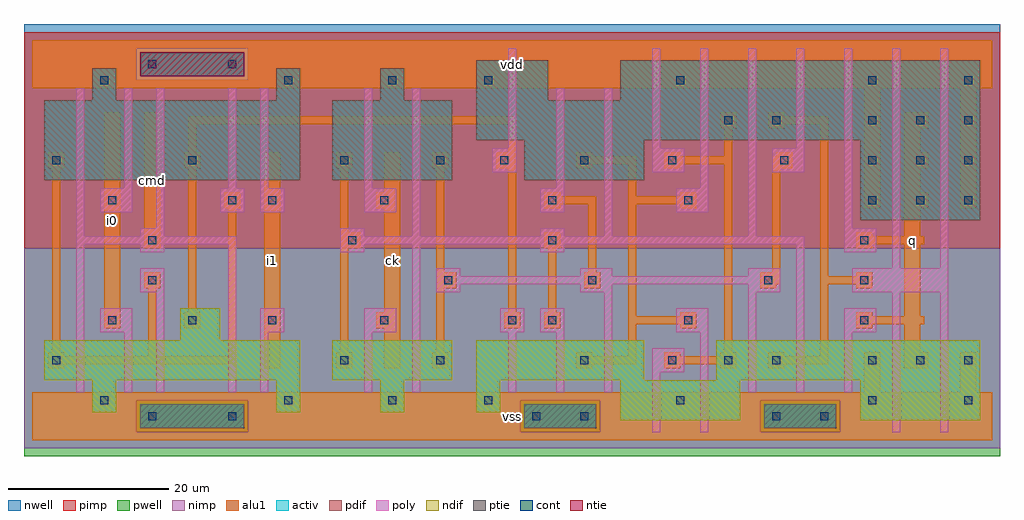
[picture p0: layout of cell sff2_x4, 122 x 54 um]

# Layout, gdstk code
import gdstk
lib = gdstk.Library(unit=1e-6, precision=1e-09)
def R(c, l, rs):  # rectangles x0, y0, x1, y1
    for r in rs: c.add(gdstk.rectangle(r[:2], r[2:], *l))
def A(c, l, x, y, w, h, nx, ny, dx, dy):  # array of equal rectangles
    R(c, l, [(x+i*dx, y+j*dy, x+i*dx+w, y+j*dy+h) for i in range(nx) for j in range(ny)])
ndif = (3, 0)
pdif = (4, 0)
ntie = (5, 0)
ptie = (6, 0)
cont = (25, 0)
pwell = (41, 0)
nwell = (42, 0)
activ = (43, 0)
pimp = (44, 0)
nimp = (45, 0)
poly = (46, 0)
alu1 = (49, 0)

sff2_x4 = lib.new_cell('sff2_x4')
R(sff2_x4, ndif, [(73.5,2.5,88.5,7.5), (103.5,2.5,118.5,7.5), (7.5,3.5,10.5,7.5), (30.5,3.5,33.5,7.5), (43.5,3.5,46.5,7.5), (55.5,3.5,58.5,7.5), (1.5,7.5,33.5,12.5), (37.5,7.5,52.5,12.5), (55.5,7.5,76.5,12.5), (85.5,7.5,118.5,12.5), (18.5,12.5,23.5,16.5)])
R(sff2_x4, pdif, [(103.5,27.5,118.5,37.5), (1.5,32.5,33.5,42.5), (37.5,32.5,52.5,42.5), (61.5,32.5,76.5,37.5), (55.5,37.5,118.5,42.5), (7.5,42.5,10.5,46.5), (30.5,42.5,33.5,46.5), (43.5,42.5,46.5,46.5), (55.5,42.5,64.5,47.5), (73.5,42.5,118.5,47.5)])
R(sff2_x4, ntie, [(13.5,45.5,26.5,48.5)])
R(sff2_x4, ptie, [(13.5,1.5,26.5,4.5), (61.5,1.5,70.5,4.5), (91.5,1.5,100.5,4.5)])
A(sff2_x4, cont, 56.5, 4.5, 1, 1, 3, 2, 24, 40)
A(sff2_x4, cont, 104.5, 9.5, 1, 1, 3, 2, 6, 20)
A(sff2_x4, cont, 9.5, 14.5, 1, 1, 3, 1, 10, 0)
A(sff2_x4, cont, 103.5, 14.5, 1, 1, 1, 3, 0, 5)
A(sff2_x4, cont, 14.5, 24.5, 1, 1, 3, 1, 25, 0)
A(sff2_x4, cont, 104.5, 34.5, 1, 1, 3, 2, 6, 5)
R(sff2_x4, cont, [(14.5,2.5,15.5,3.5), (24.5,2.5,25.5,3.5), (62.5,2.5,63.5,3.5), (68.5,2.5,69.5,3.5), (92.5,2.5,93.5,3.5), (98.5,2.5,99.5,3.5), (8.5,4.5,9.5,5.5), (31.5,4.5,32.5,5.5), (44.5,4.5,45.5,5.5), (116.5,4.5,117.5,5.5), (2.5,9.5,3.5,10.5), (38.5,9.5,39.5,10.5), (50.5,9.5,51.5,10.5), (68.5,9.5,69.5,10.5), (79.5,9.5,80.5,10.5), (86.5,9.5,87.5,10.5), (92.5,9.5,93.5,10.5), (43.5,14.5,44.5,15.5), (59.5,14.5,60.5,15.5), (64.5,14.5,65.5,15.5), (81.5,14.5,82.5,15.5), (14.5,19.5,15.5,20.5), (51.5,19.5,52.5,20.5), (69.5,19.5,70.5,20.5), (91.5,19.5,92.5,20.5), (9.5,29.5,10.5,30.5), (24.5,29.5,25.5,30.5), (29.5,29.5,30.5,30.5), (43.5,29.5,44.5,30.5), (64.5,29.5,65.5,30.5), (81.5,29.5,82.5,30.5), (2.5,34.5,3.5,35.5), (19.5,34.5,20.5,35.5), (38.5,34.5,39.5,35.5), (50.5,34.5,51.5,35.5), (58.5,34.5,59.5,35.5), (68.5,34.5,69.5,35.5), (79.5,34.5,80.5,35.5), (93.5,34.5,94.5,35.5), (86.5,39.5,87.5,40.5), (92.5,39.5,93.5,40.5), (8.5,44.5,9.5,45.5), (31.5,44.5,32.5,45.5), (44.5,44.5,45.5,45.5), (116.5,44.5,117.5,45.5), (14.5,46.5,15.5,47.5), (24.5,46.5,25.5,47.5)])
R(sff2_x4, pwell, [(-1,-2,121,24)])
R(sff2_x4, nwell, [(-1,24,121,52)])
R(sff2_x4, activ, [(13.5,1.5,26.5,4.5), (61.5,1.5,70.5,4.5), (91.5,1.5,100.5,4.5), (73.5,2.5,88.5,7.5), (103.5,2.5,118.5,7.5), (7.5,3.5,10.5,7.5), (30.5,3.5,33.5,7.5), (43.5,3.5,46.5,7.5), (55.5,3.5,58.5,7.5), (1.5,7.5,33.5,12.5), (37.5,7.5,52.5,12.5), (55.5,7.5,76.5,12.5), (85.5,7.5,118.5,12.5), (18.5,12.5,23.5,16.5), (103.5,27.5,118.5,37.5), (1.5,32.5,33.5,42.5), (37.5,32.5,52.5,42.5), (61.5,32.5,76.5,37.5), (55.5,37.5,118.5,42.5), (7.5,42.5,10.5,46.5), (30.5,42.5,33.5,46.5), (43.5,42.5,46.5,46.5), (55.5,42.5,64.5,47.5), (73.5,42.5,118.5,47.5), (13.5,45.5,26.5,48.5)])
R(sff2_x4, pimp, [(13,1,27,5), (61,1,71,5), (91,1,101,5), (-1,24,121,45), (-1,45,13,49), (27,45,121,49), (-1,49,121,51)])
R(sff2_x4, nimp, [(-1,-1,121,1), (-1,1,13,5), (27,1,61,5), (71,1,91,5), (101,1,121,5), (-1,5,121,24), (13,45,27,49)])
A(sff2_x4, poly, 13.5, 23.5, 3, 1, 3, 2, 25, 2)
A(sff2_x4, poly, 59.5, 36.5, 1, 12.5, 3, 1, 18, 0)
R(sff2_x4, poly, [(77.5,1,78.5,8.5), (83.5,1,84.5,13.5), (107.5,1,108.5,18.5), (113.5,1,114.5,18.5), (5.5,6,6.5,24.5), (11.5,6,12.5,13.5), (15.5,6,16.5,18.5), (24.5,6,25.5,24.5), (28.5,6,29.5,13.5), (41.5,6,42.5,13.5), (47.5,6,48.5,24.5), (59.5,6,60.5,13.5), (65.5,6,66.5,13.5), (71.5,6,72.5,18.5), (89.5,6,90.5,18.5), (95.5,6,96.5,24.5), (101.5,6,102.5,13.5), (77.5,8.5,81.5,11.5), (8.5,13.5,12.5,16.5), (28.5,13.5,31.5,16.5), (41.5,13.5,45.5,16.5), (58.5,13.5,61.5,16.5), (63.5,13.5,66.5,16.5), (80.5,13.5,84.5,16.5), (101.5,13.5,105.5,16.5), (13.5,18.5,16.5,21.5), (50.5,18.5,53.5,19.5), (68.5,18.5,72.5,19.5), (89.5,18.5,93.5,19.5), (102.5,18.5,114.5,21.5), (50.5,19.5,93.5,20.5), (50.5,20.5,53.5,21.5), (68.5,20.5,72.5,21.5), (89.5,20.5,93.5,21.5), (107.5,21.5,108.5,49), (113.5,21.5,114.5,49), (101.5,23.5,105.5,26.5), (5.5,24.5,25.5,25.5), (38.5,24.5,96.5,25.5), (5.5,25.5,6.5,44), (47.5,25.5,48.5,44), (71.5,25.5,72.5,44), (89.5,25.5,90.5,49), (15.5,26.5,16.5,44), (101.5,26.5,102.5,49), (8.5,28.5,12.5,31.5), (23.5,28.5,26.5,31.5), (28.5,28.5,31.5,31.5), (41.5,28.5,45.5,31.5), (63.5,28.5,66.5,31.5), (80.5,28.5,84.5,31.5), (11.5,31.5,12.5,44), (24.5,31.5,25.5,44), (28.5,31.5,29.5,44), (41.5,31.5,42.5,44), (65.5,31.5,66.5,44), (83.5,31.5,84.5,49), (57.5,33.5,60.5,36.5), (77.5,33.5,81.5,36.5), (92.5,33.5,96.5,36.5)])
A(sff2_x4, alu1, 109, 29, 3, 2, 1, 3, 0, 5)
R(sff2_x4, alu1, [(0,0,120,6), (104,6,106,11), (116,6,118,11), (2,9,4,9.5), (29,9,31,36), (38,9,40,11), (44,9,46,14), (50,9,52,11), (68,9,70,9.5), (79,9,81,9.5), (86,9,88,9.5), (92,9,94,9.5), (109,9,112,11), (2,9.5,25.5,10.5), (68,9.5,75.5,10.5), (79,9.5,88,10.5), (92,9.5,99.5,10.5), (2,10.5,4,11), (14.5,10.5,15.5,19), (24.5,10.5,25.5,29), (68,10.5,70,11), (74.5,10.5,75.5,14.5), (79,10.5,81,11), (86,10.5,88,11), (92,10.5,94,11), (98.5,10.5,99.5,19.5), (2.5,11,3.5,34), (38.5,11,39.5,24), (50.5,11,51.5,19), (86.5,11,87.5,34.5), (109,11,111,14.5), (9,14,11,41), (19,14,21,16), (43,14,46,16), (59,14,61,16), (64,14,66,16), (81,14,83,14.5), (103,14,105,14.5), (74.5,14.5,83,15.5), (103,14.5,111.5,15.5), (74.5,15.5,75.5,29.5), (81,15.5,83,16), (103,15.5,105,16), (109,15.5,111,24.5), (19.5,16,20.5,34), (44,16,46,29), (59.5,16,60.5,34), (64.5,16,65.5,24), (14,19,16,21), (50.5,19,53,21), (69,19,71,21), (91,19,93,19.5), (103,19,105,19.5), (91,19.5,93.5,21), (98.5,19.5,105,20.5), (98.5,20.5,99.5,39.5), (103,20.5,105,21), (50.5,21,51.5,34), (69.5,21,70.5,29.5), (92.5,21,93.5,34), (14,24,16,41), (38.5,24,41,26), (64,24,66,26), (103,24,105,24.5), (103,24.5,111.5,25.5), (103,25.5,105,26), (109,25.5,111,29), (38.5,26,39.5,34), (24,29,26,31), (43,29,46,31), (64,29,66,29.5), (81,29,83,29.5), (104,29,106,44), (116,29,118,44), (64,29.5,70.5,30.5), (74.5,29.5,83,30.5), (64,30.5,66,31), (74.5,30.5,75.5,34.5), (81,30.5,83,31), (44,31,46,36), (109,31,111,34), (2,34,4,36), (19,34,21,36), (38,34,40,36), (50,34,52,36), (58,34,60.5,36), (68,34,70,34.5), (79,34,81,34.5), (92.5,34,95,35.5), (68,34.5,75.5,35.5), (79,34.5,87.5,35.5), (68,35.5,70,36), (79,35.5,81,36), (86.5,35.5,87.5,39), (93,35.5,95,36), (19.5,36,20.5,39.5), (59.5,36,60.5,39.5), (109,36,111,39), (86,39,88,41), (92,39,94,39.5), (19.5,39.5,60.5,40.5), (92,39.5,99.5,40.5), (92,40.5,94,41), (0,44,120,50)])
sff2_x4.add(gdstk.Label('i0', (10,27.5), layer=49, texttype=0))
sff2_x4.add(gdstk.Label('cmd', (15,32.5), layer=49, texttype=0))
sff2_x4.add(gdstk.Label('i1', (30,22.5), layer=49, texttype=0))
sff2_x4.add(gdstk.Label('ck', (45,22.5), layer=49, texttype=0))
sff2_x4.add(gdstk.Label('vss', (60,3), layer=49, texttype=0))
sff2_x4.add(gdstk.Label('vdd', (60,47), layer=49, texttype=0))
sff2_x4.add(gdstk.Label('q', (110,25), layer=49, texttype=0))

lib.write_gds('sff2_x4.gds')
